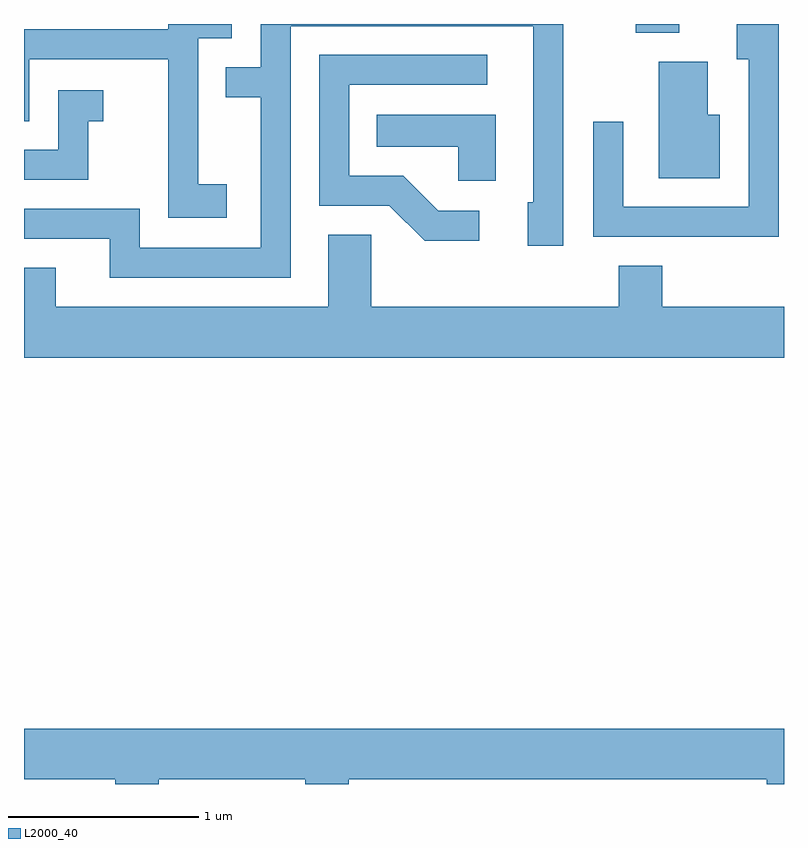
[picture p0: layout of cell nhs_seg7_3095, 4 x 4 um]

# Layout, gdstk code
import gdstk
lib = gdstk.Library(unit=1e-6, precision=1e-09)
def R(c, l, rs):  # rectangles x0, y0, x1, y1
    for r in rs: c.add(gdstk.rectangle(r[:2], r[2:], *l))
def P(c, l, *ps):  # polygons
    for p in ps: c.add(gdstk.Polygon(p, *l))
L2000_40 = (2000, 40)

nhs_seg7_3095 = lib.new_cell('nhs_seg7_3095')
R(nhs_seg7_3095, L2000_40, [(282.831,1758.206,283.059,1758.252)])
P(nhs_seg7_3095, L2000_40, [(283.584,1758.252),(283.361,1758.252),(283.361,1758.066),(283.426,1758.066),(283.426,1757.289),(282.764,1757.289),(282.764,1757.738),(282.606,1757.738),(282.606,1757.131),(283.584,1757.131)],
  [(280.679,1757.409),(280.529,1757.409),(280.529,1758.176),(280.704,1758.176),(280.704,1758.252),(280.371,1758.252),(280.371,1758.224),(279.611,1758.224),(279.611,1757.741),(279.639,1757.741),(279.639,1758.066),(280.371,1758.066),(280.371,1757.231),(280.679,1757.231)],
  [(281.014,1758.241),(282.291,1758.241),(282.291,1757.314),(282.261,1757.314),(282.261,1757.086),(282.449,1757.086),(282.449,1758.252),(280.856,1758.252),(280.856,1758.024),(280.673,1758.024),(280.673,1757.866),(280.856,1757.866),(280.856,1757.074),(280.219,1757.074),(280.219,1757.279),(279.611,1757.279),(279.611,1757.121),(280.061,1757.121),(280.061,1756.916),(281.014,1756.916)],
  [(282.008,1757.269),(281.792,1757.269),(281.607,1757.454),(281.324,1757.454),(281.324,1757.931),(282.048,1757.931),(282.048,1758.089),(281.166,1758.089),(281.166,1757.296),(281.534,1757.296),(281.719,1757.111),(282.008,1757.111)],
  [(283.274,1757.774),(283.209,1757.774),(283.209,1758.054),(282.951,1758.054),(282.951,1757.441),(283.274,1757.441)],
  [(279.949,1757.741),(280.028,1757.741),(280.028,1757.904),(279.791,1757.904),(279.791,1757.589),(279.611,1757.589),(279.611,1757.431),(279.949,1757.431)],
  [(282.094,1757.774),(281.468,1757.774),(281.468,1757.606),(281.896,1757.606),(281.896,1757.426),(282.094,1757.426)],
  [(283.611,1756.764),(282.969,1756.764),(282.969,1756.979),(282.741,1756.979),(282.741,1756.764),(281.439,1756.764),(281.439,1757.144),(281.211,1757.144),(281.211,1756.764),(279.779,1756.764),(279.779,1756.969),(279.611,1756.969),(279.611,1756.496),(283.611,1756.496)],
  [(280.319,1754.276),(281.091,1754.276),(281.091,1754.252),(281.319,1754.252),(281.319,1754.276),(283.521,1754.276),(283.521,1754.252),(283.611,1754.252),(283.611,1754.544),(279.611,1754.544),(279.611,1754.276),(280.091,1754.276),(280.091,1754.252),(280.319,1754.252)])

lib.write_gds('nhs_seg7_3095.gds')
